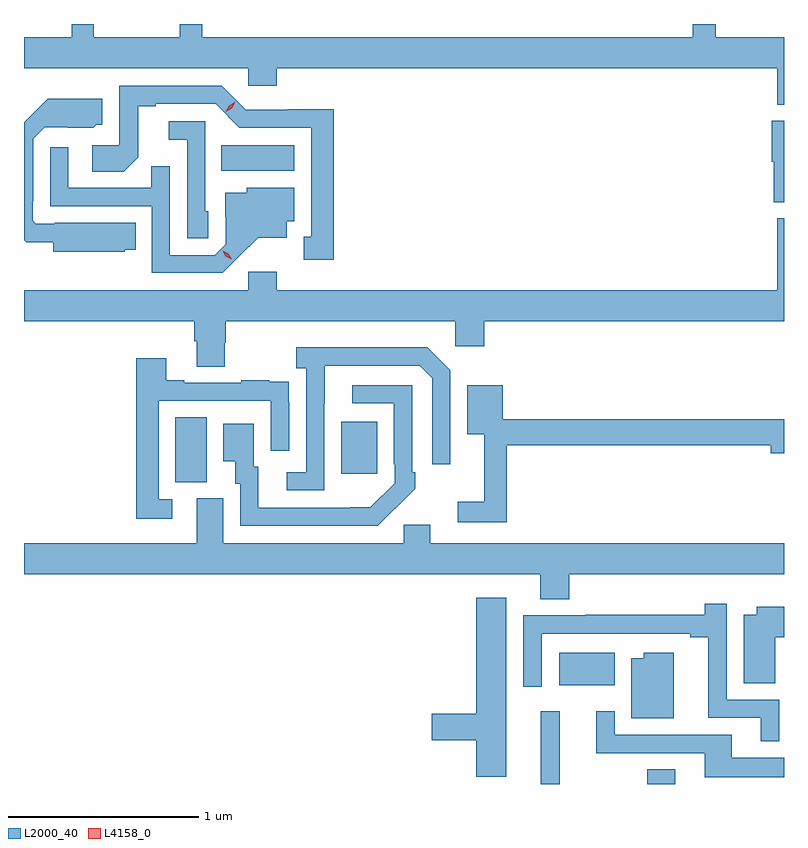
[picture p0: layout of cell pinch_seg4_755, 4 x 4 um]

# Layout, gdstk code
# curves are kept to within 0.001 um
import gdstk
lib = gdstk.Library(unit=1e-6, precision=1e-09)
def R(c, l, rs):  # rectangles x0, y0, x1, y1
    for r in rs: c.add(gdstk.rectangle(r[:2], r[2:], *l))
def P(c, l, *ps):  # polygons
    for p in ps: c.add(gdstk.Polygon(p, *l))
L2000_40 = (2000, 40)
L4158_0 = (4158, 0)

pinch_seg4_755 = lib.new_cell('pinch_seg4_755')
R(pinch_seg4_755, L2000_40, [(780.851,815.697,780.95,816.079), (781.411,815.697,781.558,815.774), (780.947,816.218,781.24,816.388), (778.928,817.285,779.092,817.628), (779.801,817.329,779.989,817.603), (779.17,818.924,779.554,819.058)])
P(pinch_seg4_755, L2000_40, [(782.131,819.628),(781.771,819.628),(781.771,819.697),(781.65,819.697),(781.65,819.628),(779.069,819.628),(779.069,819.697),(778.952,819.697),(778.952,819.628),(778.499,819.628),(778.499,819.697),(778.381,819.697),(778.381,819.628),(778.131,819.628),(778.131,819.464),(779.31,819.464),(779.31,819.371),(779.462,819.371),(779.462,819.464),(782.096,819.464),(782.096,819.272),(782.131,819.272)],
  [(779.761,819.248),(779.52,819.248),(779.52,819.246),(779.298,819.246),(779.172,819.372),(778.632,819.372),(778.632,819.06),(778.491,819.06),(778.491,818.92),(778.655,818.92),(778.731,818.996),(778.731,819.264),(778.825,819.264),(778.825,819.276),(779.139,819.276),(779.265,819.15),(779.642,819.15),(779.642,818.577),(779.603,818.577),(779.603,818.457),(779.761,818.457)],
  [(778.662,818.51),(778.718,818.51),(778.718,818.65),(778.294,818.65),(778.294,818.646),(778.194,818.646),(778.176,818.664),(778.176,818.764),(778.179,818.764),(778.179,819.093),(778.239,819.153),(778.496,819.152),(778.512,819.168),(778.543,819.168),(778.543,819.304),(778.255,819.304),(778.131,819.179),(778.131,818.56),(778.142,818.549),(778.286,818.549),(778.286,818.498),(778.662,818.498)],
  [(782.131,819.187),(782.066,819.187),(782.066,818.973),(782.078,818.973),(782.078,818.759),(782.131,818.759)],
  [(779.1,818.712),(779.085,818.712),(779.085,819.186),(778.893,819.186),(778.893,819.089),(778.989,819.089),(778.989,818.569),(779.1,818.569)],
  [(779.26,818.471),(779.363,818.573),(779.515,818.573),(779.515,818.66),(779.554,818.66),(779.554,818.836),(779.304,818.836),(779.304,818.809),(779.189,818.809),(779.189,818.68),(779.193,818.68),(779.193,818.538),(779.136,818.481),(778.899,818.481),(778.899,818.948),(778.801,818.948),(778.801,818.835),(778.365,818.835),(778.365,819.049),(778.269,819.049),(778.269,818.739),(778.803,818.739),(778.803,818.388),(779.176,818.388)],
  [(779.187,818.019),(779.192,818.019),(779.192,818.132),(780.402,818.132),(780.402,818.001),(780.554,818.001),(780.554,818.132),(782.131,818.132),(782.131,818.674),(782.096,818.674),(782.096,818.296),(779.462,818.296),(779.462,818.392),(779.31,818.392),(779.31,818.296),(778.131,818.296),(778.131,818.132),(779.027,818.132),(779.027,818.026),(779.039,818.026),(779.039,817.894),(779.187,817.894)],
  [(779.712,817.699),(779.713,817.899),(780.213,817.899),(780.279,817.833),(780.279,817.38),(780.375,817.38),(780.375,817.875),(780.254,817.996),(779.565,817.996),(779.565,817.886),(779.616,817.886),(779.616,817.338),(779.514,817.338),(779.514,817.242),(779.712,817.242)],
  [(778.912,817.197),(778.839,817.197),(778.839,817.713),(779.43,817.713),(779.43,817.452),(779.526,817.452),(779.526,817.706),(779.525,817.706),(779.525,817.815),(779.423,817.815),(779.423,817.822),(779.275,817.822),(779.275,817.809),(778.975,817.809),(778.975,817.822),(778.879,817.822),(778.879,817.939),(778.723,817.939),(778.723,817.092),(778.912,817.092)],
  [(780.083,817.147),(780.084,817.146),(780.189,817.251),(780.189,817.339),(780.174,817.339),(780.174,817.797),(779.859,817.797),(779.859,817.701),(780.078,817.701),(780.078,817.381),(780.081,817.381),(780.081,817.281),(779.953,817.153),(779.365,817.152),(779.365,817.368),(779.341,817.368),(779.341,817.594),(779.18,817.594),(779.18,817.397),(779.243,817.397),(779.243,817.278),(779.268,817.278),(779.268,817.056),(779.992,817.056)],
  [(780.671,817.48),(782.06,817.48),(782.06,817.438),(782.131,817.438),(782.131,817.616),(780.651,817.616),(780.651,817.795),(780.464,817.795),(780.464,817.538),(780.554,817.538),(780.554,817.183),(780.414,817.183),(780.414,817.074),(780.671,817.074)],
  [(781.001,816.8),(782.131,816.8),(782.131,816.964),(780.268,816.964),(780.268,817.062),(780.129,817.062),(780.129,816.964),(779.179,816.964),(779.179,817.2),(779.039,817.2),(779.039,816.964),(778.131,816.964),(778.131,816.8),(780.848,816.8),(780.848,816.67),(781.001,816.67)],
  [(780.67,816.676),(780.512,816.676),(780.512,816.068),(780.276,816.068),(780.276,815.926),(780.512,815.926),(780.512,815.736),(780.67,815.736)],
  [(782.107,816.141),(781.83,816.141),(781.83,816.646),(781.714,816.646),(781.714,816.587),(781.084,816.587),(781.084,816.585),(780.759,816.585),(780.759,816.21),(780.855,816.21),(780.855,816.489),(781.637,816.489),(781.637,816.469),(781.733,816.469),(781.733,816.045),(782.009,816.045),(782.009,815.921),(782.107,815.921)],
  [(782.086,816.47),(782.131,816.47),(782.131,816.631),(781.988,816.631),(781.988,816.589),(781.919,816.589),(781.919,816.226),(782.086,816.226)],
  [(781.552,816.388),(781.394,816.388),(781.394,816.358),(781.328,816.358),(781.328,816.044),(781.552,816.044)],
  [(782.131,815.836),(781.855,815.836),(781.855,815.955),(781.239,815.955),(781.239,816.079),(781.142,816.079),(781.142,815.859),(781.715,815.859),(781.715,815.732),(782.131,815.732)])
P(pinch_seg4_755, L4158_0, [(779.193,819.235),(779.193,819.235),(779.211,819.268),(779.242,819.287),(779.243,819.287),(779.243,819.287),(779.225,819.254),(779.193,819.235)],
  [(779.224,818.46),(779.193,818.475),(779.176,818.504),(779.176,818.504),(779.176,818.504),(779.207,818.489),(779.224,818.46),(779.224,818.46)])

lib.write_gds('pinch_seg4_755.gds')
